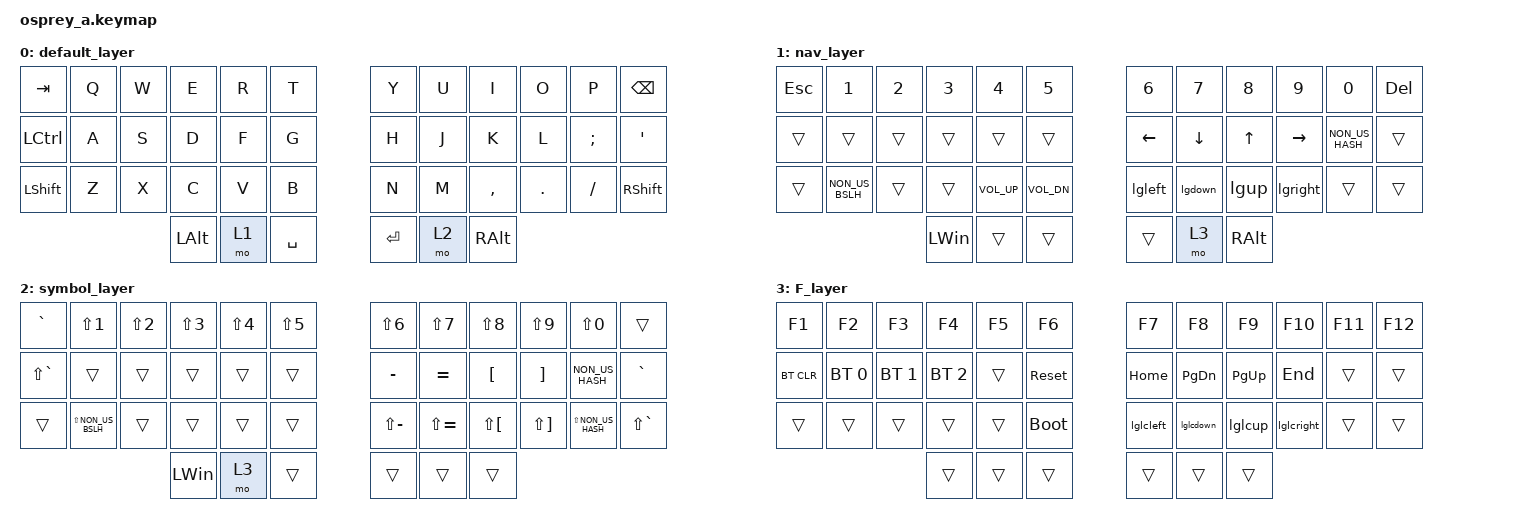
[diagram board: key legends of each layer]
/*
 * Copyright (c) 2022 The ZMK Contributors
 *
 * SPDX-License-Identifier: MIT
 */

#include <behaviors.dtsi>
#include <dt-bindings/zmk/bt.h>
#include <dt-bindings/zmk/keys.h>

// I am using Win + Arrows for tiling, LG(code) hoewever caused some glitches with sending both LGUI + arrow and then LGUI separately.
// This leadis to unwanted opening of the start menu. These macros work around this issue.

/ {
    macros {
        lgleft: lgleft {
            compatible = "zmk,behavior-macro";
            label = "LGLEFT";
            #binding-cells = <0>;
            bindings =
                <&macro_press>,
                <&kp LWIN>,
                <&macro_tap>,
                <&kp LEFT>,
                <&macro_release>,
                <&kp LWIN>;
        };
        lgright: lgright {
            compatible = "zmk,behavior-macro";
            label = "LGRIGHT";
            #binding-cells = <0>;
            bindings =
                <&macro_press>,
                <&kp LWIN>,
                <&macro_tap>,
                <&kp RIGHT>,
                <&macro_release>,
                <&kp LWIN>;
        };
        lgup: lgup {
            compatible = "zmk,behavior-macro";
            label = "LGUP";
            #binding-cells = <0>;
            bindings =
                <&macro_press>,
                <&kp LWIN>,
                <&macro_tap>,
                <&kp UP>,
                <&macro_release>,
                <&kp LWIN>;
        };
        lgdown: lgdown {
            compatible = "zmk,behavior-macro";
            label = "LGDOWN";
            #binding-cells = <0>;
            bindings =
                <&macro_press>,
                <&kp LWIN>,
                <&macro_tap>,
                <&kp DOWN>,
                <&macro_release>,
                <&kp LWIN>;
        };
        lglcleft: lglcleft {
            compatible = "zmk,behavior-macro";
            label = "LGLCLEFT";
            #binding-cells = <0>;
            bindings =
                <&macro_press>,
                <&kp LWIN>,
                <&macro_press>,
                <&kp LCTRL>,
                <&macro_tap>,
                <&kp LEFT>,
                <&macro_release>,
                <&kp LWIN>,
                <&macro_release>,
                <&kp LCTRL>;
        };
        lglcright: lglcright {
            compatible = "zmk,behavior-macro";
            label = "LGLCRIGHT";
            #binding-cells = <0>;
            bindings =
                <&macro_press>,
                <&kp LWIN>,
                <&macro_press>,
                <&kp LCTRL>,
                <&macro_tap>,
                <&kp RIGHT>,
                <&macro_release>,
                <&kp LWIN>,
                <&macro_release>,
                <&kp LCTRL>;
        };
        lglcup: lglcup {
            compatible = "zmk,behavior-macro";
            label = "LGLCUP";
            #binding-cells = <0>;
            bindings =
                <&macro_press>,
                <&kp LWIN>,
                <&macro_press>,
                <&kp LCTRL>,
                <&macro_tap>,
                <&kp UP>,
                <&macro_release>,
                <&kp LWIN>,
                <&macro_release>,
                <&kp LCTRL>;
        };
        lglcdown: lglcdown {
            compatible = "zmk,behavior-macro";
            label = "LGLCDOWN";
            #binding-cells = <0>;
            bindings =
                <&macro_press>,
                <&kp LWIN>,
                <&macro_press>,
                <&kp LCTRL>,
                <&macro_tap>,
                <&kp DOWN>,
                <&macro_release>,
                <&kp LWIN>,
                <&macro_release>,
                <&kp LCTRL>;
        };
    };
};

/ {
    keymap {
        compatible = "zmk,keymap";

        default_layer {
            bindings = <
&kp TAB    &kp Q  &kp W  &kp E     &kp R  &kp T                 &kp Y      &kp U     &kp I      &kp O    &kp P      &kp BSPC
&kp LCTRL  &kp A  &kp S  &kp D     &kp F  &kp G                 &kp H      &kp J     &kp K      &kp L    &kp SEMI   &kp SQT
&kp LSHFT  &kp Z  &kp X  &kp C     &kp V  &kp B                 &kp N      &kp M     &kp COMMA  &kp DOT  &kp SLASH  &kp RIGHT_SHIFT
                         &kp LALT  &mo 1  &kp SPACE             &kp ENTER  &mo 2     &kp RALT
            >;
        };

        nav_layer {
            bindings = <
&kp ESC  &kp N1           &kp N2  &kp N3    &kp N4       &kp N5       &kp N6    &kp N7    &kp N8  &kp N9     &kp N0           &kp DEL
&trans   &trans           &trans  &trans    &trans       &trans       &kp LEFT  &kp DOWN  &kp UP  &kp RIGHT  &kp NON_US_HASH  &trans
&trans   &kp NON_US_BSLH  &trans  &trans    &kp C_VOL_UP &kp C_VOL_DN &lgleft   &lgdown   &lgup   &lgright   &trans           &trans
                                  &kp LWIN  &trans       &trans       &trans    &mo 3     &kp RALT
            >;
        };

        symbol_layer {
            bindings = <
&kp GRAVE      &kp LS(N1)           &kp LS(N2)  &kp LS(N3)  &kp LS(N4)  &kp LS(N5)          &kp LS(N6)     &kp LS(N7)     &kp LS(N8)    &kp LS(N9)    &kp LS(N0)           &trans
&kp LS(GRAVE)  &trans               &trans      &trans      &trans      &trans              &kp MINUS      &kp EQUAL      &kp LBKT      &kp RBKT      &kp NON_US_HASH      &kp GRAVE
&trans         &kp LS(NON_US_BSLH)  &trans      &trans      &trans      &trans              &kp LS(MINUS)  &kp LS(EQUAL)  &kp LS(LBKT)  &kp LS(RBKT)  &kp LS(NON_US_HASH)  &kp LS(GRAVE)
                                                &kp LWIN    &mo 3       &trans              &trans         &trans         &trans
            >;
        };

        F_layer {
            bindings = <
&kp F1      &kp F2        &kp F3        &kp F4        &kp F5  &kp F6               &kp F7    &kp F8     &kp F9     &kp F10    &kp F11  &kp F12
&bt BT_CLR  &bt BT_SEL 0  &bt BT_SEL 1  &bt BT_SEL 2  &trans  &sys_reset           &kp HOME  &kp PG_DN  &kp PG_UP  &kp END    &trans   &trans
&trans      &trans        &trans        &trans        &trans  &bootloader          &lglcleft &lglcdown  &lglcup    &lglcright &trans   &trans
                                        &trans        &trans  &trans               &trans    &trans     &trans
            >;
        };
    };
};
